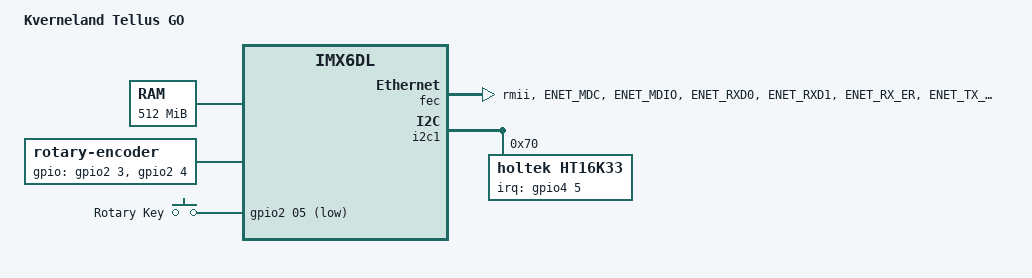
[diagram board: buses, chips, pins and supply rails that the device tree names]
// SPDX-License-Identifier: GPL-2.0-or-later
/*
 * Copyright (c) 2016 Protonic Holland
 */

/dts-v1/;
#include <arm/imx6dl.dtsi>
#include "imx6qdl-vicut1.dtsi"
#include <dt-bindings/input/input.h>

/ {
	model = "Kverneland Tellus GO";
	compatible = "kvg,victgo", "fsl,imx6dl";

	memory {
		reg = <0x10000000 0x20000000>;
	};

	rotary-encoder {
		compatible = "rotary-encoder";
		pinctrl-0 = <&pinctrl_rotary_ch>;
		gpios = <&gpio2 3 0>, <&gpio2 4 0>;
		linux,axis = <8>; /* REL_WHEEL */
		rotary-encoder,steps-per-period = <4>;
		rotary-encoder,relative-axis;
		rotary-encoder,rollover;
		wakeup-source;
	};

	rotary-button {
		compatible = "gpio-keys";
		pinctrl-0 = <&pinctrl_rotary_btn>;
		#address-cells = <1>;
		#size-cells = <0>;
		autorepeat;
		button@0 {
			label = "Rotary Key";
			gpios = <&gpio2 05 1>;
			linux,code = <KEY_ENTER>;
			gpio-key,wakeup;
		};
	};
};

&fec {
	pinctrl-names = "default";
	pinctrl-0 = <&pinctrl_enet>;
	phy-mode = "rmii";
	phy-reset-gpios = <&gpio4 26 GPIO_ACTIVE_LOW>;
	clocks = <&clks IMX6QDL_CLK_ENET>,
		 <&clks IMX6QDL_CLK_ENET>;
	clock-names = "ipg", "ahb";
	status = "okay";
};

&uart2 {
	status = "disabled";
};

&i2c1 {
	ht16k33: ht16k33@70 {
		compatible = "holtek,ht16k33";
		pinctrl-0 = <&pinctrl_ht16k33>;
		reg = <0x70>;
		refresh-rate-hz = <20>;
		debounce-delay-ms = <50>;
		interrupt-parent = <&gpio4>;
		interrupts = <5 (IRQ_TYPE_LEVEL_HIGH | IRQ_TYPE_EDGE_RISING)>;
		keypad,num-rows = <12>;
		keypad,num-columns = <3>;
		linux,keymap = <
			MATRIX_KEY(2, 0, KEY_F6)
			MATRIX_KEY(3, 0, KEY_F8)
			MATRIX_KEY(4, 0, KEY_F10)
			MATRIX_KEY(5, 0, KEY_F4)
			MATRIX_KEY(6, 0, KEY_F2)
			MATRIX_KEY(2, 1, KEY_F5)
			MATRIX_KEY(3, 1, KEY_F7)
			MATRIX_KEY(4, 1, KEY_F9)
			MATRIX_KEY(5, 1, KEY_F3)
			MATRIX_KEY(6, 1, KEY_F1)
			>;
	};
};

&pwm2 {
	status = "disabled";
};

&iomuxc {
	pinctrl_enet: enetgrp {
		fsl,pins = <
			/* MX6QDL_ENET_PINGRP4 */
			MX6QDL_PAD_ENET_MDC__ENET_MDC           0x1b0b0
			MX6QDL_PAD_ENET_MDIO__ENET_MDIO         0x1b0b0
			MX6QDL_PAD_ENET_RXD0__ENET_RX_DATA0     0x1b0b0
			MX6QDL_PAD_ENET_RXD1__ENET_RX_DATA1     0x1b0b0
			MX6QDL_PAD_ENET_RX_ER__ENET_RX_ER       0x1b0b0
			MX6QDL_PAD_ENET_TX_EN__ENET_TX_EN       0x1b0b0
			MX6QDL_PAD_ENET_TXD0__ENET_TX_DATA0     0x1b0b0
			MX6QDL_PAD_ENET_TXD1__ENET_TX_DATA1     0x1b0b0
			MX6QDL_PAD_ENET_CRS_DV__ENET_RX_EN      0x1b0b0
			MX6QDL_PAD_GPIO_16__ENET_REF_CLK   	0x1b0b0
			/* Phy reset */
			MX6QDL_PAD_DISP0_DAT5__GPIO4_IO26   	0x1b0b0
			/* nINTRP */
			MX6QDL_PAD_DISP0_DAT9__GPIO4_IO30   	0x1b0b0
		>;
	};

	pinctrl_ecspi2: ecspi2grp {
		fsl,pins = <
			MX6QDL_PAD_DISP0_DAT16__ECSPI2_MOSI	0x100b1
			MX6QDL_PAD_DISP0_DAT17__ECSPI2_MISO	0x100b1
			MX6QDL_PAD_DISP0_DAT18__GPIO5_IO12	0x100b1
			MX6QDL_PAD_DISP0_DAT19__ECSPI2_SCLK	0x100b1
		>;
	};

	pinctrl_rotary_ch: rotarygrp {
		fsl,pins = <
			MX6QDL_PAD_NANDF_D3__GPIO2_IO03	0x1b0b0 /* ROTARY_A */
			MX6QDL_PAD_NANDF_D4__GPIO2_IO04	0x1b0b0	/* ROTARY_B */
		>;
	};

	pinctrl_rotary_btn: rotarygrp {
		fsl,pins = <
			MX6QDL_PAD_NANDF_D5__GPIO2_IO05	0x1b0b0	/* ROTARY_BTN */
		>;
	};

	pinctrl_ht16k33: ht16k33grp {
		fsl,pins = <
			MX6QDL_PAD_GPIO_19__GPIO4_IO05	0x1b0b0 /* IRQ */
		>;
	};

	pinctrl_tsc2046e: tsc2046egrp {
		fsl,pins = <
			MX6QDL_PAD_DISP0_DAT14__GPIO5_IO08      0x1b0b0
			MX6QDL_PAD_DISP0_DAT15__GPIO5_IO09      0x1b0b0
		>;
	};
};
